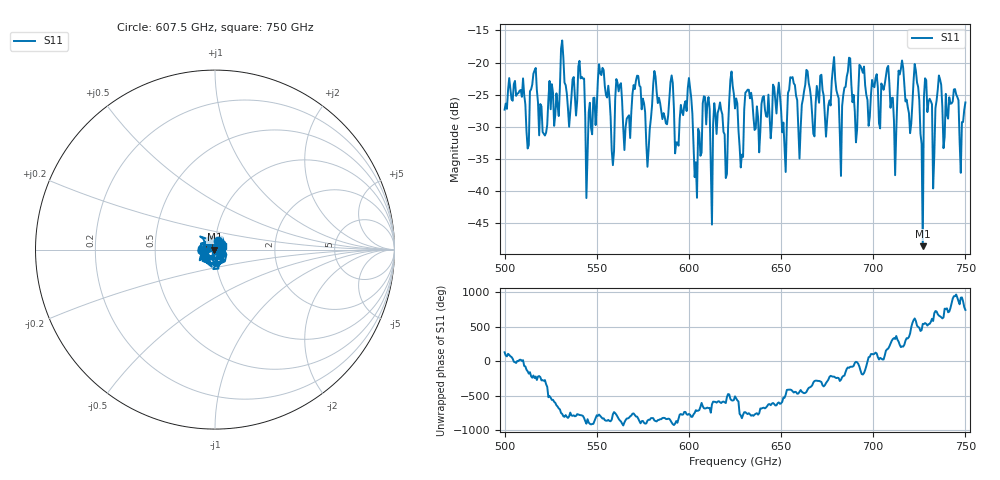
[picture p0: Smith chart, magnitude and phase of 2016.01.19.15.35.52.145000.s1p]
!Created with skrf (http://scikit-rf.org).
# GHz S RI R 50.0
!freq ReS11 ImS11
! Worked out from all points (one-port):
!   401 points, 500 GHz to 750 GHz, reference 50 ohm
!   lowest |S11| = -48.6 dB at 726.9 GHz (marker M1), VSWR 1.01, Z = 49.6 - j0.0047 ohm
!   |S11| at or under -10 dB: start of sweep to end of sweep
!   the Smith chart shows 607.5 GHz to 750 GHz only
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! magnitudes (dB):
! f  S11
! 500 GHz  -27.3
! 516.2 GHz  -21.2
! 521.9 GHz  -31.4
! 531.2 GHz  -16.6
! 541.9 GHz  -22.2
! 545.6 GHz  -27.7
! 551.9 GHz  -21.7
! 558.1 GHz  -33.7
! 562.5 GHz  -23.5
! 578.1 GHz  -33.6
! 590.6 GHz  -22.0
! 593.8 GHz  -32.4
! 600 GHz  -22.4
! 603.8 GHz  -35.5
! 609.4 GHz  -29.6
! 620 GHz  -38.0
! 625 GHz  -27.1
! 628.1 GHz  -36.3
! 631.9 GHz  -24.2
! 651.9 GHz  -33.3
! 656.2 GHz  -22.3
! 682.5 GHz  -37.6
! 687.5 GHz  -19.4
! 718.8 GHz  -27.0
! 723.1 GHz  -21.2
! 726.9 GHz  -48.6
! 728.8 GHz  -22.7
! 750 GHz  -26.2
